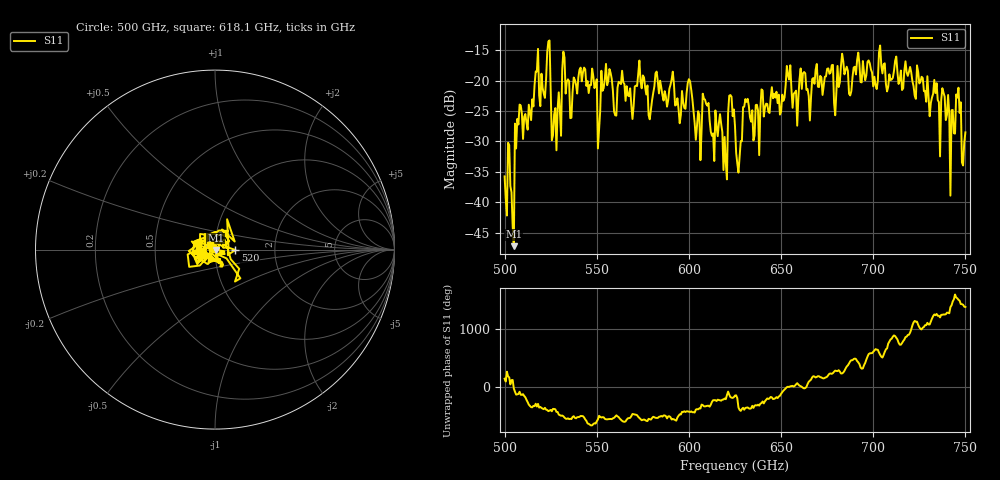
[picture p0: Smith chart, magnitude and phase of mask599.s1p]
!Created with skrf (http://scikit-rf.org).
# GHz S MA R 50.0
!freq magS11 angS11
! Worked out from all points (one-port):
!   401 points, 500 GHz to 750 GHz, reference 50 ohm
!   lowest |S11| = -47.2 dB at 505 GHz (marker M1), VSWR 1.01, Z = 50.4 - j0.179 ohm
!   |S11| at or under -10 dB: start of sweep to end of sweep
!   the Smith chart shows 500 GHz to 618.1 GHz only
!   S11 on the Smith chart (normalised r, x): 500 GHz: 0.97, +0.02; 520 GHz: 1.26, -0.01; 618.1 GHz: 0.94, +0.05
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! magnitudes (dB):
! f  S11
! 500 GHz  -35.7
! 505 GHz  -47.2
! 508.1 GHz  -23.9
! 520 GHz  -18.9
! 523.8 GHz  -13.6
! 526.9 GHz  -25.6
! 531.2 GHz  -18.2
! 548.8 GHz  -21.2
! 550.6 GHz  -31.2
! 553.8 GHz  -21.2
! 562.5 GHz  -20.3
! 593.8 GHz  -22.9
! 600 GHz  -19.8
! 605 GHz  -25.0
! 608.8 GHz  -23.1
! 618.1 GHz  -28.5
! 620 GHz  -33.5
! 623.1 GHz  -22.7
! 625 GHz  -27.5
! 626.9 GHz  -35.1
! 630.6 GHz  -23.0
! 634.4 GHz  -24.9
! 656.2 GHz  -24.5
! 687.5 GHz  -22.4
! 718.8 GHz  -19.2
! 743.1 GHz  -24.8
! 746.2 GHz  -21.2
! 750 GHz  -28.5
